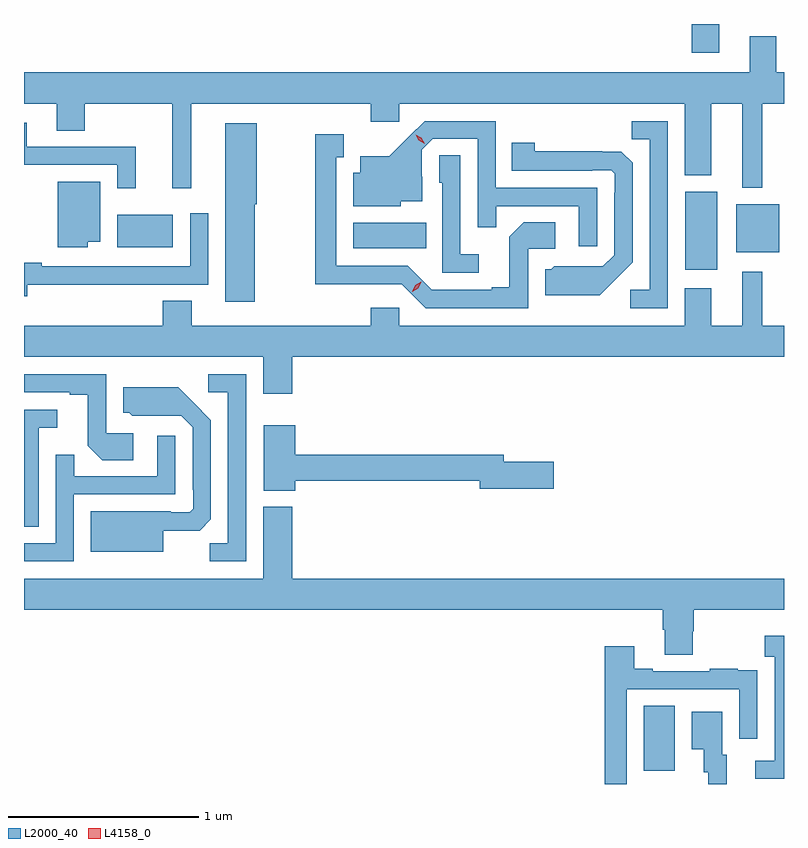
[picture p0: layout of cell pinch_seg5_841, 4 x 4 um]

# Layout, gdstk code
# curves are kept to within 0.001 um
import gdstk
lib = gdstk.Library(unit=1e-6, precision=1e-09)
def R(c, l, rs):  # rectangles x0, y0, x1, y1
    for r in rs: c.add(gdstk.rectangle(r[:2], r[2:], *l))
def P(c, l, *ps):  # polygons
    for p in ps: c.add(gdstk.Polygon(p, *l))
L2000_40 = (2000, 40)
L4158_0 = (4158, 0)

pinch_seg5_841 = lib.new_cell('pinch_seg5_841')
R(pinch_seg5_841, L2000_40, [(806.012,891.877,806.176,892.22), (806.231,894.513,806.398,894.925), (806.498,894.605,806.725,894.859), (804.482,894.626,804.866,894.76), (803.24,894.632,803.533,894.802), (806.264,895.656,806.41,895.807)])
P(pinch_seg5_841, L2000_40, [(803.63,895.388),(804.575,895.388),(804.575,895.293),(804.726,895.293),(804.726,895.388),(806.228,895.388),(806.228,895.01),(806.368,895.01),(806.368,895.388),(806.531,895.388),(806.531,894.944),(806.635,894.944),(806.635,895.388),(806.75,895.388),(806.75,895.552),(806.71,895.552),(806.71,895.742),(806.57,895.742),(806.57,895.552),(802.75,895.552),(802.75,895.388),(802.922,895.388),(802.922,895.246),(803.07,895.246),(803.07,895.388),(803.531,895.388),(803.531,894.942),(803.63,894.942)],
  [(805.767,894.945),(805.233,894.945),(805.233,895.296),(804.86,895.296),(804.673,895.111),(804.521,895.111),(804.521,895.024),(804.482,895.024),(804.482,894.848),(804.732,894.848),(804.732,894.875),(804.847,894.875),(804.847,895.004),(804.843,895.004),(804.843,895.146),(804.9,895.203),(805.137,895.203),(805.137,894.736),(805.235,894.736),(805.235,894.849),(805.671,894.849),(805.671,894.636),(805.767,894.636)],
  [(806.139,895.296),(805.948,895.296),(805.948,895.201),(806.043,895.201),(806.043,894.408),(805.941,894.408),(805.941,894.312),(806.139,894.312)],
  [(803.339,895.161),(802.765,895.161),(802.765,895.288),(802.75,895.288),(802.75,895.065),(803.241,895.065),(803.241,894.942),(803.339,894.942)],
  [(803.964,894.858),(803.974,894.858),(803.974,895.285),(803.81,895.285),(803.81,894.345),(803.964,894.345)],
  [(805.404,894.624),(805.546,894.624),(805.546,894.764),(805.381,894.764),(805.305,894.688),(805.305,894.421),(805.211,894.421),(805.211,894.408),(804.897,894.408),(804.771,894.534),(804.394,894.534),(804.394,895.107),(804.433,895.107),(804.433,895.228),(804.283,895.228),(804.283,894.437),(804.738,894.438),(804.864,894.312),(805.404,894.312)],
  [(805.861,894.461),(805.953,894.554),(805.953,895.076),(805.894,895.135),(805.437,895.136),(805.437,895.183),(805.318,895.183),(805.318,895.035),(805.742,895.035),(805.742,895.038),(805.842,895.038),(805.86,895.02),(805.86,894.92),(805.857,894.92),(805.857,894.591),(805.797,894.531),(805.54,894.532),(805.524,894.516),(805.493,894.516),(805.493,894.38),(805.781,894.38)],
  [(805.144,894.595),(805.047,894.595),(805.047,895.115),(804.936,895.115),(804.936,894.972),(804.951,894.972),(804.951,894.498),(805.144,894.498)],
  [(803.086,894.662),(803.152,894.662),(803.152,894.976),(802.928,894.976),(802.928,894.632),(803.086,894.632)],
  [(802.766,894.434),(803.396,894.434),(803.396,894.435),(803.721,894.435),(803.721,894.811),(803.625,894.811),(803.625,894.531),(802.843,894.531),(802.843,894.551),(802.75,894.551),(802.75,894.375),(802.766,894.375)],
  [(804.161,894.056),(806.75,894.056),(806.75,894.22),(806.635,894.22),(806.635,894.502),(806.531,894.502),(806.531,894.22),(806.368,894.22),(806.368,894.415),(806.228,894.415),(806.228,894.22),(804.726,894.22),(804.726,894.313),(804.575,894.313),(804.575,894.22),(803.632,894.22),(803.632,894.35),(803.48,894.35),(803.48,894.22),(802.75,894.22),(802.75,894.056),(804.008,894.056),(804.008,893.862),(804.161,893.862)],
  [(803.919,893.964),(803.721,893.964),(803.721,893.868),(803.823,893.868),(803.823,893.075),(803.728,893.075),(803.728,892.98),(803.919,892.98)],
  [(803.326,893.652),(803.184,893.652),(803.184,893.964),(802.75,893.964),(802.75,893.868),(802.991,893.868),(802.991,893.856),(803.085,893.856),(803.085,893.588),(803.161,893.512),(803.326,893.512)],
  [(803.482,893.141),(803.674,893.141),(803.733,893.2),(803.733,893.722),(803.561,893.896),(803.273,893.896),(803.273,893.76),(803.304,893.76),(803.32,893.744),(803.577,893.745),(803.637,893.685),(803.637,893.356),(803.64,893.356),(803.64,893.256),(803.622,893.238),(803.522,893.238),(803.522,893.242),(803.102,893.242),(803.102,893.03),(803.482,893.03)],
  [(802.827,893.681),(802.924,893.681),(802.924,893.778),(802.75,893.778),(802.75,893.161),(802.827,893.161)],
  [(804.178,893.404),(805.148,893.404),(805.148,893.362),(805.537,893.362),(805.537,893.504),(805.276,893.504),(805.276,893.54),(804.178,893.54),(804.178,893.695),(804.011,893.695),(804.011,893.351),(804.178,893.351)],
  [(803.013,893.331),(803.547,893.331),(803.547,893.641),(803.451,893.641),(803.451,893.427),(803.015,893.427),(803.015,893.54),(802.917,893.54),(802.917,893.073),(802.75,893.073),(802.75,892.98),(803.013,892.98)],
  [(806.271,892.611),(806.276,892.611),(806.276,892.724),(806.75,892.724),(806.75,892.888),(804.161,892.888),(804.161,893.266),(804.008,893.266),(804.008,892.888),(802.75,892.888),(802.75,892.724),(806.111,892.724),(806.111,892.618),(806.123,892.618),(806.123,892.486),(806.271,892.486)],
  [(806.75,892.588),(806.649,892.588),(806.649,892.478),(806.7,892.478),(806.7,891.93),(806.598,891.93),(806.598,891.834),(806.75,891.834)],
  [(805.923,892.305),(806.514,892.305),(806.514,892.044),(806.61,892.044),(806.61,892.298),(806.609,892.298),(806.609,892.407),(806.507,892.407),(806.507,892.414),(806.359,892.414),(806.359,892.401),(806.059,892.401),(806.059,892.414),(805.963,892.414),(805.963,892.531),(805.807,892.531),(805.807,891.807),(805.923,891.807)],
  [(806.449,891.96),(806.425,891.96),(806.425,892.186),(806.264,892.186),(806.264,891.989),(806.327,891.989),(806.327,891.87),(806.352,891.87),(806.352,891.807),(806.449,891.807)])
P(pinch_seg5_841, L4158_0, [(804.858,895.178),(804.828,895.194),(804.811,895.223),(804.811,895.224),(804.811,895.224),(804.842,895.208),(804.858,895.178),(804.858,895.178)],
  [(804.793,894.398),(804.793,894.398),(804.81,894.431),(804.841,894.45),(804.842,894.45),(804.842,894.449),(804.824,894.417),(804.793,894.398)])

lib.write_gds('pinch_seg5_841.gds')
